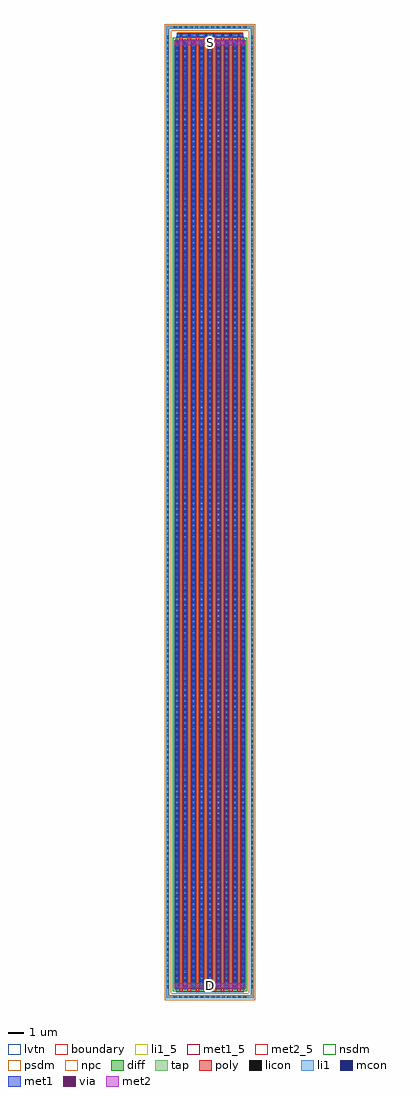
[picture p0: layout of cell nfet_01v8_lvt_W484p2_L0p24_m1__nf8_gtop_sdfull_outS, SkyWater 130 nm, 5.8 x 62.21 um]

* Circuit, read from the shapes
.subckt nfet_01v8_lvt_W484p2_L0p24_m1__nf8_gtop_sdfull_outS B D G S
XM1 D G S B sky130_fd_pr__nfet_01v8_lvt w=60.53 l=0.24 m=8
.ends

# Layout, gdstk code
import gdstk
lib = gdstk.Library(unit=1e-6, precision=1e-09)
def R(c, l, rs):  # rectangles x0, y0, x1, y1
    for r in rs: c.add(gdstk.rectangle(r[:2], r[2:], *l))
def A(c, l, x, y, w, h, nx, ny, dx, dy):  # array of equal rectangles
    R(c, l, [(x+i*dx, y+j*dy, x+i*dx+w, y+j*dy+h) for i in range(nx) for j in range(ny)])
diff = (65, 20)
tap = (65, 44)
poly = (66, 20)
licon = (66, 44)
li1_5 = (67, 5)
li1 = (67, 20)
mcon = (67, 44)
met1_5 = (68, 5)
met1 = (68, 20)
via = (68, 44)
met2_5 = (69, 5)
met2 = (69, 20)
nsdm = (93, 44)
psdm = (94, 20)
npc = (95, 20)
lvtn = (125, 44)
boundary = (235, 4)

sky130_fd_pr__nfet_01v8_ = lib.new_cell('sky130_fd_pr__nfet_01v8_lvt_Z72BCP')
R(sky130_fd_pr__nfet_01v8_, diff, [(-2.265,-30.42,2.265,30.11)])
R(sky130_fd_pr__nfet_01v8_, tap, [(-2.775,-30.98,2.775,-30.81), (-2.775,-30.81,-2.605,30.81), (2.605,-30.81,2.775,30.81), (-2.775,30.81,2.775,30.98)])
A(sky130_fd_pr__nfet_01v8_, poly, -1.975, -30.55, 0.24, 60.77, 8, 1, 0.53, 0)
R(sky130_fd_pr__nfet_01v8_, poly, [(-2.12,30.22,2.12,30.55)])
A(sky130_fd_pr__nfet_01v8_, licon, -2.295, -30.98, 0.17, 0.17, 14, 2, 0.34, 61.79)
A(sky130_fd_pr__nfet_01v8_, licon, -2.775, -30.345, 0.17, 0.17, 1, 179, 0, 0.34)
A(sky130_fd_pr__nfet_01v8_, licon, 2.605, -30.345, 0.17, 0.17, 1, 179, 0, 0.34)
A(sky130_fd_pr__nfet_01v8_, licon, -2.205, -30.33, 0.17, 0.17, 9, 178, 0.53, 0.34)
A(sky130_fd_pr__nfet_01v8_, licon, -1.94, 30.3, 0.17, 0.17, 8, 1, 0.53, 0)
A(sky130_fd_pr__nfet_01v8_, li1, -2.205, -30.44, 0.17, 60.57, 9, 1, 0.53, 0)
R(sky130_fd_pr__nfet_01v8_, li1, [(-2.775,-30.98,2.775,-30.81), (-2.775,-30.81,-2.605,30.81), (2.605,-30.81,2.775,30.81), (-2.12,30.3,2.12,30.47), (-2.775,30.81,2.775,30.98)])
A(sky130_fd_pr__nfet_01v8_, mcon, -2.205, -30.3, 0.17, 0.17, 9, 168, 0.53, 0.36)
A(sky130_fd_pr__nfet_01v8_, mcon, -1.94, 30.3, 0.17, 0.17, 8, 1, 0.53, 0)
A(sky130_fd_pr__nfet_01v8_, met1, -2.235, -30.42, 0.23, 60.53, 9, 1, 0.53, 0)
A(sky130_fd_pr__nfet_01v8_, met1, -2, 30.27, 0.29, 0.03, 8, 2, 0.53, 0.2)
R(sky130_fd_pr__nfet_01v8_, met1, [(-2.12,30.3,2.12,30.47)])
R(sky130_fd_pr__nfet_01v8_, nsdm, [(-2.39,-30.545,2.39,30.235)])
R(sky130_fd_pr__nfet_01v8_, psdm, [(-2.9,-31.105,2.9,-30.685), (-2.9,-30.685,-2.48,30.685), (2.48,-30.685,2.9,30.685), (-2.9,30.685,2.9,31.105)])
R(sky130_fd_pr__nfet_01v8_, npc, [(-2.04,30.2,2.04,30.57)])
R(sky130_fd_pr__nfet_01v8_, lvtn, [(-2.155,-30.6,2.155,30.29)])
R(sky130_fd_pr__nfet_01v8_, boundary, [(-2.69,-30.895,2.69,30.895)])
sky130_fd_pr__nfet_01v8_.add(gdstk.Label('B', (0,-30.895), layer=67, texttype=5))
sky130_fd_pr__nfet_01v8_.add(gdstk.Label('D0', (-2.12,-0.155), layer=67, texttype=5))
sky130_fd_pr__nfet_01v8_.add(gdstk.Label('G', (1.855,30.385), layer=67, texttype=5))
sky130_fd_pr__nfet_01v8_.add(gdstk.Label('G', (1.325,30.385), layer=67, texttype=5))
sky130_fd_pr__nfet_01v8_.add(gdstk.Label('G', (0.795,30.385), layer=67, texttype=5))
sky130_fd_pr__nfet_01v8_.add(gdstk.Label('G', (0.265,30.385), layer=67, texttype=5))
sky130_fd_pr__nfet_01v8_.add(gdstk.Label('G', (-0.265,30.385), layer=67, texttype=5))
sky130_fd_pr__nfet_01v8_.add(gdstk.Label('G', (-0.795,30.385), layer=67, texttype=5))
sky130_fd_pr__nfet_01v8_.add(gdstk.Label('G', (-1.325,30.385), layer=67, texttype=5))
sky130_fd_pr__nfet_01v8_.add(gdstk.Label('G', (-1.855,30.385), layer=67, texttype=5))
sky130_fd_pr__nfet_01v8_.add(gdstk.Label('S1', (-1.59,-0.155), layer=67, texttype=5))
sky130_fd_pr__nfet_01v8_.add(gdstk.Label('D2', (-1.06,-0.155), layer=67, texttype=5))
sky130_fd_pr__nfet_01v8_.add(gdstk.Label('S3', (-0.53,-0.155), layer=67, texttype=5))
sky130_fd_pr__nfet_01v8_.add(gdstk.Label('D4', (0,-0.155), layer=67, texttype=5))
sky130_fd_pr__nfet_01v8_.add(gdstk.Label('S5', (0.53,-0.155), layer=67, texttype=5))
sky130_fd_pr__nfet_01v8_.add(gdstk.Label('D6', (1.06,-0.155), layer=67, texttype=5))
sky130_fd_pr__nfet_01v8_.add(gdstk.Label('S7', (1.59,-0.155), layer=67, texttype=5))

nfet_01v8_lvt_w484p2_l0p = lib.new_cell('nfet_01v8_lvt_W484p2_L0p24_m1__nf8_gtop_sdfull_outS')
R(nfet_01v8_lvt_w484p2_l0p, li1_5, [(2.605,-0.085,2.775,0.085)])
R(nfet_01v8_lvt_w484p2_l0p, li1, [(2.605,-0.085,2.775,0.085)])
R(nfet_01v8_lvt_w484p2_l0p, met1_5, [(0.57,61.165,4.81,61.395)])
A(nfet_01v8_lvt_w484p2_l0p, met1, 0.97, 0.525, 0.26, 0.32, 4, 1, 1.06, 0)
A(nfet_01v8_lvt_w484p2_l0p, met1, 0.44, 60.635, 0.26, 0.32, 5, 1, 1.06, 0)
R(nfet_01v8_lvt_w484p2_l0p, met1, [(0.57,61.165,4.81,61.395)])
A(nfet_01v8_lvt_w484p2_l0p, via, 1.025, 0.61, 0.15, 0.15, 4, 1, 1.06, 0)
A(nfet_01v8_lvt_w484p2_l0p, via, 0.495, 60.72, 0.15, 0.15, 5, 1, 1.06, 0)
R(nfet_01v8_lvt_w484p2_l0p, met2_5, [(0.435,0.525,4.945,0.845), (0.435,60.635,4.945,60.955)])
R(nfet_01v8_lvt_w484p2_l0p, met2, [(0.435,0.525,4.945,0.845), (0.435,60.635,4.945,60.955)])
nfet_01v8_lvt_w484p2_l0p.add(gdstk.Reference(sky130_fd_pr__nfet_01v8_, (2.69,30.895)))
nfet_01v8_lvt_w484p2_l0p.add(gdstk.Label('S', (2.69,60.795), layer=69, texttype=5))
nfet_01v8_lvt_w484p2_l0p.add(gdstk.Label('D', (2.69,0.685), layer=69, texttype=5))
nfet_01v8_lvt_w484p2_l0p.add(gdstk.Label('G', (2.69,61.28), layer=68, texttype=5))
nfet_01v8_lvt_w484p2_l0p.add(gdstk.Label('B', (2.69,0), layer=67, texttype=5))

lib.write_gds('nfet_01v8_lvt_W484p2_L0p24_m1__nf8_gtop_sdfull_outS.gds')
